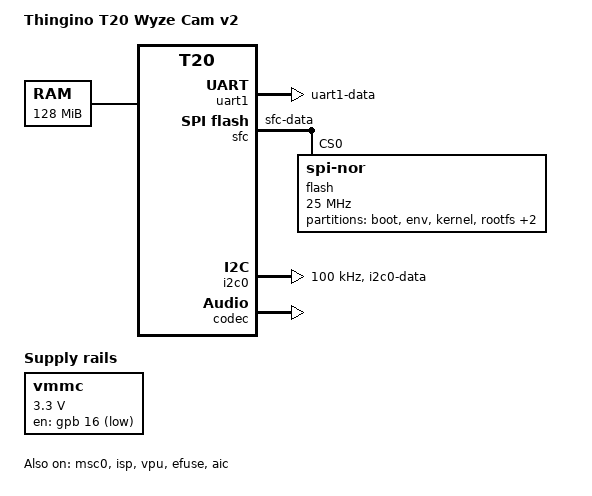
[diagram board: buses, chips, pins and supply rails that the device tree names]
// SPDX-License-Identifier: GPL-2.0
/dts-v1/;

#include <dt-bindings/gpio/gpio.h>
#include "t20.dtsi"

/ {
	compatible = "thingino,t20", "ingenic,t20";
	model = "Thingino T20 Wyze Cam v2";

	aliases {
		serial1 = &uart1;
	};

	chosen {
		stdout-path = "serial1:115200n8";
	};

	memory@0 {
		device_type = "memory";
		reg = <0x0 0x8000000>;
	};

	/* PB16, low = on; the Wi-Fi module shares it */
	vmmc: regulator-vmmc {
		compatible = "regulator-fixed";
		regulator-name = "vmmc";
		regulator-min-microvolt = <3300000>;
		regulator-max-microvolt = <3300000>;
		gpio = <&gpb 16 GPIO_ACTIVE_LOW>;
		startup-delay-us = <10000>;
	};
};

&exclk {
	clock-frequency = <24000000>;
};

&uart1 {
	status = "okay";

	pinctrl-names = "default";
	pinctrl-0 = <&pins_uart1>;
};

&tcu {
	/* 750 kHz for the system timer and clocksource; SYSOST is sched_clock */
	assigned-clocks = <&tcu TCU_CLK_TIMER0>, <&tcu TCU_CLK_TIMER1>;
	assigned-clock-rates = <750000>, <750000>;
};

&sfc {
	status = "okay";

	pinctrl-names = "default";
	pinctrl-0 = <&pins_sfc>;

	flash@0 {
		compatible = "jedec,spi-nor";
		reg = <0>;
		spi-max-frequency = <25000000>;

		partitions {
			compatible = "fixed-partitions";
			#address-cells = <1>;
			#size-cells = <1>;

			partition@0 {
				label = "boot";
				reg = <0x0 0x40000>;
				read-only;
			};

			partition@40000 {
				label = "env";
				reg = <0x40000 0x10000>;
			};

			partition@50000 {
				label = "kernel";
				reg = <0x50000 0x200000>;
			};

			partition@250000 {
				label = "rootfs";
				reg = <0x250000 0x500000>;
			};

			partition@750000 {
				label = "rootfs_data";
				reg = <0x750000 0xb0000>;
			};

			partition-all@0 {
				label = "all";
				reg = <0x0 0x800000>;
			};
		};
	};
};

&msc0 {
	status = "okay";
	bus-width = <4>;
	max-frequency = <24000000>;
	/* Wyze Cam v2: PB11, low with a card in */
	cd-gpios = <&gpb 11 GPIO_ACTIVE_LOW>;
	vmmc-supply = <&vmmc>;

	pinctrl-names = "default";
	pinctrl-0 = <&pins_mmc0>;
};

/* The SDIO Wi-Fi sits on MSC1 (PC2 to PC7); enable it with its power sequence */
&msc1 {
	status = "disabled";
	bus-width = <4>;
	non-removable;

	pinctrl-names = "default";
	pinctrl-0 = <&pins_mmc1>;
};

&i2c0 {
	status = "okay";
	clock-frequency = <100000>;

	pinctrl-names = "default";
	pinctrl-0 = <&pins_i2c0>;
};

&isp {
	status = "okay";

	pinctrl-names = "default";
	pinctrl-0 = <&pins_cim>;
};

&vpu {
	status = "okay";
};

&efuse {
	status = "okay";
};

&pinctrl {
	pins_uart1: uart1 {
		function = "uart1";
		groups = "uart1-data";
	};

	pins_mmc0: mmc0 {
		function = "mmc0";
		groups = "mmc0-1bit", "mmc0-4bit";
	};

	pins_mmc1: mmc1 {
		function = "mmc1";
		groups = "mmc1-4bit";
	};

	pins_sfc: sfc {
		function = "sfc";
		groups = "sfc-data";
	};

	pins_cim_mclk: cim-mclk {
		function = "cim";
		groups = "cim-mclk";
	};

	/* 10-bit DVP on PA0-PA9 with PCLK, MCLK and the sync pins */
	pins_cim: cim {
		function = "cim";
		groups = "cim-data-10bit", "cim-pclk", "cim-mclk", "cim-sync";
	};

	pins_i2c0: i2c0 {
		function = "i2c0";
		groups = "i2c0-data";
	};
};

&aic {
	status = "okay";
};

/* Speaker amp enable: PB31 */
&codec {
	spk-gpios = <&gpb 31 GPIO_ACTIVE_HIGH>;
	status = "okay";
};
